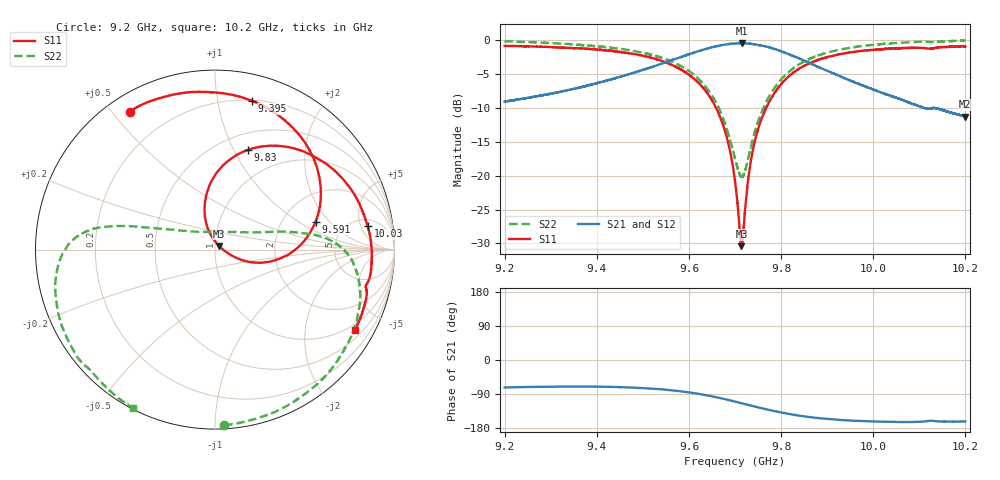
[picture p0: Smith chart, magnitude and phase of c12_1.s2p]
!Agilent Technologies,N5242A,MY51221714,A.09.90.19
!Agilent N5242A: A.09.90.19
!Date: Saturday, March 16, 2024 10:23:02
!Correction: S11(Full 2 Port(1,2))
!S21(Full 2 Port(1,2))
!S12(Full 2 Port(1,2))
!S22(Full 2 Port(1,2))
!S2P File: Measurements: S11, S21, S12, S22:
# Hz S  dB  R 50
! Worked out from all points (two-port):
!   16001 points, 9.2 GHz to 10.2 GHz, reference 50 ohm
!   highest |S21| = -0.47 dB at 9.715 GHz (marker M1); lowest = -11.3 dB at 10.2 GHz (marker M2)
!   |S21| within 3 dB of the highest: 9.540607 GHz to 9.540659 GHz (51.98 kHz wide, 0.000545 % of centre); 9.541 GHz to 9.865 GHz (323.7 MHz wide, 3.34 % of centre)
!   lowest |S11| = -30.4 dB at 9.714 GHz (marker M3), VSWR 1.06, Z = 52.3 + j2.06 ohm
!   |S11| at or under -10 dB: 9.659 GHz to 9.768 GHz (108.8 MHz wide, 1.12 % of centre)
!   |S22| runs from -20.2 to -0.1 dB; largest |S21 - S12| = 0.013
!   S11 on the Smith chart (normalised r, x): 9.2 GHz: 0.07, +0.56; 9.395 GHz: 0.21, +1.26; 9.591 GHz: 3.04, +1.44; 9.83 GHz: 0.67, +1.14; 10.03 GHz: 6.64, +6.67; 10.2 GHz: 0.78, -3.61
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9.2e9  -0.87 121.7  -9.09 -72.4  -9.07 -73.1  -0.17 -86.9
9.27775e9  -0.98 104.2  -8.20 -70.9  -8.18 -71.3  -0.38 -65.2
9.366688e9  -1.24 83.3  -6.94 -70.1  -6.92 -70.6  -0.73 -41.4
9.395062e9  -1.37 76.2  -6.45 -70.2  -6.43 -70.9  -0.89 -34.1
9.533375e9  -2.90 36.3  -3.66 -76.6  -3.64 -77.2  -2.43 -3.4
9.591188e9  -4.70 15.5  -2.30 -84.1  -2.29 -84.6  -4.15 5.9
9.662312e9  -10.47 -13.4  -0.87 -99.0  -0.87 -99.5  -9.66 17.5
9.684312e9  -14.93 -20.8  -0.60 -105.1  -0.59 -105.6  -13.57 27.6
9.7e9  -20.73 -18.4  -0.50 -109.7  -0.48 -110.3  -17.49 47.1
9.713938e9  -30.40 40.6  -0.47 -113.9  -0.46 -114.5  -20.22 87.2
9.715375e9  -30.09 53.9  -0.47 -114.4  -0.45 -115.0  -20.09 92.3
9.733125e9  -18.34 108.2  -0.54 -119.9  -0.53 -120.5  -16.12 139.9
9.752e9  -12.71 104.5  -0.74 -125.5  -0.72 -126.2  -11.65 154.8
9.784625e9  -7.91 91.1  -1.29 -134.6  -1.29 -135.3  -7.15 163.2
9.829875e9  -4.63 71.6  -2.44 -145.0  -2.44 -145.6  -3.99 168.5
9.866688e9  -3.28 57.2  -3.54 -151.4  -3.52 -151.9  -2.63 172.7
9.945812e9  -1.86 30.9  -5.84 -159.5  -5.86 -160.0  -1.18 -175.0
1.002769e10  -1.30 8.7  -7.99 -162.8  -7.98 -163.5  -0.54 -158.5
1.003338e10  -1.29 7.1  -8.13 -163.1  -8.12 -163.6  -0.49 -157.2
1.011025e10  -1.18 -11.4  -10.01 -162.3  -10.02 -163.0  -0.23 -140.1
1.019975e10  -0.94 -29.7  -11.28 -162.3  -11.25 -163.0  -0.06 -117.6
1.02e10  -0.93 -29.7  -11.27 -162.3  -11.25 -162.9  -0.06 -117.5
